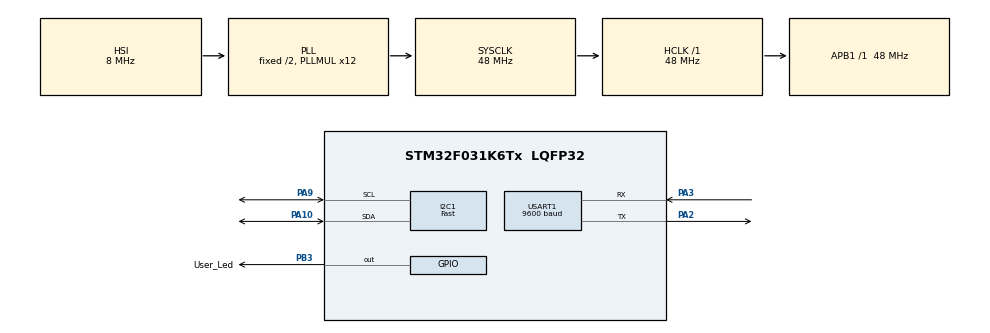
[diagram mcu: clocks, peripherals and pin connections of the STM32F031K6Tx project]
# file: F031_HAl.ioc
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Dma.Request0=USART1_RX
Dma.USART1_RX.0.Direction=DMA_PERIPH_TO_MEMORY
Dma.USART1_RX.0.Instance=DMA1_Channel3
Dma.USART1_RX.0.MemDataAlignment=DMA_MDATAALIGN_BYTE
Dma.USART1_RX.0.MemInc=DMA_MINC_ENABLE
Dma.USART1_RX.0.Mode=DMA_NORMAL
Dma.USART1_RX.0.PeriphDataAlignment=DMA_PDATAALIGN_BYTE
Dma.USART1_RX.0.PeriphInc=DMA_PINC_DISABLE
Dma.USART1_RX.0.Priority=DMA_PRIORITY_LOW
I2C1.I2C_Speed_Mode=I2C_Fast
I2C1.Timing=0x0000020B
Mcu.Family=STM32F0
Mcu.Name=STM32F031K6Tx
Mcu.Package=LQFP32
NVIC.DMA1_Channel2_3_IRQn=true\:0\:0\:false\:false\:true\:false\:true\:true
NVIC.USART1_IRQn=true\:0\:0\:false\:false\:true\:true\:true\:true
PA10.Mode=I2C
PA10.Signal=I2C1_SDA
PA13.Mode=Serial_Wire
PA13.Signal=SYS_SWDIO
PA14.Mode=Serial_Wire
PA14.Signal=SYS_SWCLK
PA2.Mode=Asynchronous
PA2.Signal=USART1_TX
PA3.Mode=Asynchronous
PA3.Signal=USART1_RX
PA9.Mode=I2C
PA9.Signal=I2C1_SCL
PB3.GPIO_Label=User_Led
PB3.Signal=GPIO_Output
ProjectManager.HeapSize=0x200
ProjectManager.StackSize=0x400
ProjectManager.TargetToolchain=STM32CubeIDE
RCC.AHBFreq_Value=48000000
RCC.APB1Freq_Value=48000000
RCC.APB1TimFreq_Value=48000000
RCC.HCLKFreq_Value=48000000
RCC.PLLMUL=RCC_PLL_MUL12
RCC.SYSCLKFreq_VALUE=48000000
RCC.SYSCLKSource=RCC_SYSCLKSOURCE_PLLCLK
USART1.BaudRate=9600
USART1.VirtualMode-Asynchronous=VM_ASYNC
board=custom

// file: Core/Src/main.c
/* USER CODE BEGIN Header */
/**
  ******************************************************************************
  * @file           : main.c
  * @brief          : Main program body
  ******************************************************************************
  * @attention
  *
  * Copyright (c) 2022 STMicroelectronics.
  * All rights reserved.
  *
  * This software is licensed under terms that can be found in the LICENSE file
  * in the root directory of this software component.
  * If no LICENSE file comes with this software, it is provided AS-IS.
  *
  ******************************************************************************
  */
/* USER CODE END Header */
#include "main.h"

/* USER CODE BEGIN Includes */
#include <stdio.h>
#include <stdbool.h>
#include <lcd1602_i2c_lib.h>
#include "ModbusRTU_lib.h"
/* USER CODE END Includes */

/* USER CODE BEGIN PD */
#define UART_DMA_RX_BUFFER_SIZE 64
#define RE72_ADRESS 0x58  //01011000
#define RE72_BYTE_ORDER 0x01
#define RE72_SP_change 0xFF4
#define RE72_SP 0x1D4E    //register 7502
#define RE72_PV 0x1D4C    //register 7500
#define RE72_FUNCTION_READ_REGISTER 0x03
#define RE72_FUNCTION_WRITE_REGISTER 0x06
/* USER CODE END PD */

I2C_HandleTypeDef hi2c1;

UART_HandleTypeDef huart1;
DMA_HandleTypeDef hdma_usart1_rx;

/* USER CODE BEGIN PV */
extern char tx_buffer_lcd[40];

extern uint8_t ModbusRTU_tx_buffer[ModbusRTU_TX_BUFFER_SIZE];
extern uint8_t ModbusRTU_rx_buffer[ModbusRTU_RX_BUFFER_SIZE];
volatile bool ModbusRTU_rx_flag = 0;
unsigned long t_ModbusRTU_tx = 0;
unsigned long t_ModbusRTU_tx_2 = 0;

uint8_t uart_dma_rx_buffer[UART_DMA_RX_BUFFER_SIZE] = {0, };

volatile bool display_flag = 0;

union {
	int32_t val_int;
	float result_float;
}conversation_int_to_float;
int32_t RE72_SP_int = 0;
int32_t RE72_PV_int = 0;
int16_t i = 0;
/* USER CODE END PV */

void SystemClock_Config(void);
static void MX_GPIO_Init(void);
static void MX_DMA_Init(void);
static void MX_I2C1_Init(void);
static void MX_USART1_UART_Init(void);
/* USER CODE BEGIN PFP */
void Read_Register_RE72(uint16_t Register, uint8_t Function_code);
void Read_Two_Registers_RE72(uint16_t Register, uint8_t Function_code);
void Write_Register_RE72(uint16_t Register, uint8_t Function_code, uint16_t Data_To_Write);
void Display_Data_ModbusRTU(void);
void Read_SP_value_RE72(void);
void Read_PV_value_RE72(void);
void Write_SP_value_RE72(uint16_t value);
/* USER CODE END PFP */

int main(void)
{

  /* MCU Configuration--------------------------------------------------------*/

  /* Reset of all peripherals, Initializes the Flash interface and the Systick. */
  HAL_Init();

  /* Configure the system clock */
  SystemClock_Config();

  /* Initialize all configured peripherals */
  MX_GPIO_Init();
  MX_DMA_Init();
  MX_I2C1_Init();
  MX_USART1_UART_Init();
  /* USER CODE BEGIN 2 */
  t_ModbusRTU_tx = HAL_GetTick();
  t_ModbusRTU_tx_2 = HAL_GetTick();
  HAL_UARTEx_ReceiveToIdle_DMA(&huart1, uart_dma_rx_buffer, UART_DMA_RX_BUFFER_SIZE);
  __HAL_DMA_DISABLE_IT(&hdma_usart1_rx, DMA_IT_HT);
  Write_SP_value_RE72(i);
  lcd1602_Init();
  lcd1602_SetCursor(0, 0);
  for(int i = 0; i < 20; i++){
	  static uint8_t val = 0;
	  switch(val){
	  case 0:
		  	lcd1602_SetCursor(0, 0);
			sprintf(tx_buffer_lcd, "Initialization.   ");
			lcd1602_Print_text(tx_buffer_lcd);
			HAL_Delay(300);
			val++;
			break;
	  case 1:
		    lcd1602_SetCursor(0, 0);
			sprintf(tx_buffer_lcd, "Initialization..   ");
			lcd1602_Print_text(tx_buffer_lcd);
			HAL_Delay(300);
			val++;
			break;
	  case 2:
		    lcd1602_SetCursor(0, 0);
		  	sprintf(tx_buffer_lcd, "Initialization...   ");
		    lcd1602_Print_text(tx_buffer_lcd);
		    HAL_Delay(300);
		    val++;
		    break;
	  case 3:
		    lcd1602_SetCursor(0, 0);
		  	sprintf(tx_buffer_lcd, "Initialization.   ");
		    lcd1602_Print_text(tx_buffer_lcd);
		    HAL_Delay(300);
		    val++;
		    break;
	  }
	  if(val == 3){
		  val = 0;
	  }
  }

  /* USER CODE END 2 */

  /* Infinite loop */
  /* USER CODE BEGIN WHILE */
  while (1)
  {
	  Display_Data_ModbusRTU();
	  if((HAL_GetTick() - t_ModbusRTU_tx) >= 1000){
		  t_ModbusRTU_tx = HAL_GetTick();
		  Read_SP_value_RE72();
		  Read_PV_value_RE72();

	  }
	  if((HAL_GetTick() - t_ModbusRTU_tx_2) >= 300){
		  Write_SP_value_RE72(i);
		  i++;
		  if(i >= 500){
			  i = 0;
		  }

	  }
    /* USER CODE END WHILE */

  }
}

void SystemClock_Config(void)
{
  RCC_OscInitTypeDef RCC_OscInitStruct = {0};
  RCC_ClkInitTypeDef RCC_ClkInitStruct = {0};
  RCC_PeriphCLKInitTypeDef PeriphClkInit = {0};

  /** Initializes the RCC Oscillators according to the specified parameters
  * in the RCC_OscInitTypeDef structure.
  */
  RCC_OscInitStruct.OscillatorType = RCC_OSCILLATORTYPE_HSI;
  RCC_OscInitStruct.HSIState = RCC_HSI_ON;
  RCC_OscInitStruct.HSICalibrationValue = RCC_HSICALIBRATION_DEFAULT;
  RCC_OscInitStruct.PLL.PLLState = RCC_PLL_ON;
  RCC_OscInitStruct.PLL.PLLSource = RCC_PLLSOURCE_HSI;
  RCC_OscInitStruct.PLL.PLLMUL = RCC_PLL_MUL12;
  RCC_OscInitStruct.PLL.PREDIV = RCC_PREDIV_DIV1;
  if (HAL_RCC_OscConfig(&RCC_OscInitStruct) != HAL_OK)
  {
    Error_Handler();
  }

  /** Initializes the CPU, AHB and APB buses clocks
  */
  RCC_ClkInitStruct.ClockType = RCC_CLOCKTYPE_HCLK|RCC_CLOCKTYPE_SYSCLK
                              |RCC_CLOCKTYPE_PCLK1;
  RCC_ClkInitStruct.SYSCLKSource = RCC_SYSCLKSOURCE_PLLCLK;
  RCC_ClkInitStruct.AHBCLKDivider = RCC_SYSCLK_DIV1;
  RCC_ClkInitStruct.APB1CLKDivider = RCC_HCLK_DIV1;

  if (HAL_RCC_ClockConfig(&RCC_ClkInitStruct, FLASH_LATENCY_1) != HAL_OK)
  {
    Error_Handler();
  }
  PeriphClkInit.PeriphClockSelection = RCC_PERIPHCLK_USART1|RCC_PERIPHCLK_I2C1;
  PeriphClkInit.Usart1ClockSelection = RCC_USART1CLKSOURCE_PCLK1;
  PeriphClkInit.I2c1ClockSelection = RCC_I2C1CLKSOURCE_HSI;
  if (HAL_RCCEx_PeriphCLKConfig(&PeriphClkInit) != HAL_OK)
  {
    Error_Handler();
  }
}

static void MX_I2C1_Init(void)
{

  hi2c1.Instance = I2C1;
  hi2c1.Init.Timing = 0x0000020B;
  hi2c1.Init.OwnAddress1 = 0;
  hi2c1.Init.AddressingMode = I2C_ADDRESSINGMODE_7BIT;
  hi2c1.Init.DualAddressMode = I2C_DUALADDRESS_DISABLE;
  hi2c1.Init.OwnAddress2 = 0;
  hi2c1.Init.OwnAddress2Masks = I2C_OA2_NOMASK;
  hi2c1.Init.GeneralCallMode = I2C_GENERALCALL_DISABLE;
  hi2c1.Init.NoStretchMode = I2C_NOSTRETCH_DISABLE;
  if (HAL_I2C_Init(&hi2c1) != HAL_OK)
  {
    Error_Handler();
  }

  /** Configure Analogue filter
  */
  if (HAL_I2CEx_ConfigAnalogFilter(&hi2c1, I2C_ANALOGFILTER_ENABLE) != HAL_OK)
  {
    Error_Handler();
  }

  /** Configure Digital filter
  */
  if (HAL_I2CEx_ConfigDigitalFilter(&hi2c1, 0) != HAL_OK)
  {
    Error_Handler();
  }

}

static void MX_USART1_UART_Init(void)
{

  huart1.Instance = USART1;
  huart1.Init.BaudRate = 9600;
  huart1.Init.WordLength = UART_WORDLENGTH_8B;
  huart1.Init.StopBits = UART_STOPBITS_1;
  huart1.Init.Parity = UART_PARITY_NONE;
  huart1.Init.Mode = UART_MODE_TX_RX;
  huart1.Init.HwFlowCtl = UART_HWCONTROL_NONE;
  huart1.Init.OverSampling = UART_OVERSAMPLING_16;
  huart1.Init.OneBitSampling = UART_ONE_BIT_SAMPLE_DISABLE;
  huart1.AdvancedInit.AdvFeatureInit = UART_ADVFEATURE_NO_INIT;
  if (HAL_UART_Init(&huart1) != HAL_OK)
  {
    Error_Handler();
  }

}

static void MX_DMA_Init(void)
{

  /* DMA controller clock enable */
  __HAL_RCC_DMA1_CLK_ENABLE();

  /* DMA interrupt init */
  /* DMA1_Channel2_3_IRQn interrupt configuration */
  HAL_NVIC_SetPriority(DMA1_Channel2_3_IRQn, 0, 0);
  HAL_NVIC_EnableIRQ(DMA1_Channel2_3_IRQn);

}

static void MX_GPIO_Init(void)
{
  GPIO_InitTypeDef GPIO_InitStruct = {0};

  /* GPIO Ports Clock Enable */
  __HAL_RCC_GPIOA_CLK_ENABLE();
  __HAL_RCC_GPIOB_CLK_ENABLE();

  /*Configure GPIO pin Output Level */
  HAL_GPIO_WritePin(User_Led_GPIO_Port, User_Led_Pin, GPIO_PIN_RESET);

  /*Configure GPIO pin : User_Led_Pin */
  GPIO_InitStruct.Pin = User_Led_Pin;
  GPIO_InitStruct.Mode = GPIO_MODE_OUTPUT_PP;
  GPIO_InitStruct.Pull = GPIO_NOPULL;
  GPIO_InitStruct.Speed = GPIO_SPEED_FREQ_LOW;
  HAL_GPIO_Init(User_Led_GPIO_Port, &GPIO_InitStruct);

}

/* USER CODE BEGIN 4 */

void HAL_UARTEx_RxEventCallback(UART_HandleTypeDef *huart, uint16_t Size){
	if(huart->Instance == USART1){
		memcpy(ModbusRTU_rx_buffer, uart_dma_rx_buffer, Size);
		HAL_UARTEx_ReceiveToIdle_DMA(&huart1, uart_dma_rx_buffer, UART_DMA_RX_BUFFER_SIZE);
		display_flag = 1;
	}
}

void Read_Register_RE72(uint16_t Register, uint8_t Function_code){
	if(Function_code == 0x03){
		ModbusRTU_Read_Holding_Registers_0x03(RE72_ADRESS, Register, 1, RE72_BYTE_ORDER);
		HAL_UART_Transmit(&huart1, ModbusRTU_tx_buffer, 8, 1000);
	}
}

void Read_Two_Registers_RE72(uint16_t Register, uint8_t Function_code){
	if(Function_code == 0x03){
		ModbusRTU_Read_Holding_Registers_0x03(RE72_ADRESS, Register, 2, RE72_BYTE_ORDER);
		HAL_UART_Transmit(&huart1, ModbusRTU_tx_buffer, 8, 1000);
	}
}

void Write_Register_RE72(uint16_t Register, uint8_t Function_code, uint16_t Data_To_Write){
	if(Function_code == 0x06){
		ModbusRTU_Write_Single_Register_0x06(RE72_ADRESS, Register, Data_To_Write, RE72_BYTE_ORDER);
		HAL_UART_Transmit(&huart1, ModbusRTU_tx_buffer, 8, 1000);
	}
}

void Read_PV_value_RE72(){
	 Read_Two_Registers_RE72(RE72_PV, RE72_FUNCTION_READ_REGISTER);
	 conversation_int_to_float.val_int = ((uint32_t)ModbusRTU_rx_buffer[3] << 24) | ((uint32_t)ModbusRTU_rx_buffer[4] << 16) | ((uint32_t)ModbusRTU_rx_buffer[5] << 8) | ((uint32_t)ModbusRTU_rx_buffer[6]);
	 RE72_PV_int = conversation_int_to_float.result_float;
	 lcd1602_SetCursor(0, 1);
	 sprintf(tx_buffer_lcd, "PV value is %u           ", RE72_PV_int);
	 lcd1602_Print_text(tx_buffer_lcd);
	 HAL_Delay(300);
}

void Read_SP_value_RE72(){
	Read_Two_Registers_RE72(RE72_SP, RE72_FUNCTION_READ_REGISTER);
	conversation_int_to_float.val_int = ((uint32_t)ModbusRTU_rx_buffer[3] << 24) | ((uint32_t)ModbusRTU_rx_buffer[4] << 16) | ((uint32_t)ModbusRTU_rx_buffer[5] << 8) | ((uint32_t)ModbusRTU_rx_buffer[6]);
	RE72_SP_int = conversation_int_to_float.result_float;
	lcd1602_SetCursor(0, 0);
	sprintf(tx_buffer_lcd, "SP value is %u           ", RE72_SP_int);
	lcd1602_Print_text(tx_buffer_lcd);
	HAL_Delay(300);
}
void Write_SP_value_RE72(uint16_t value){
	Write_Register_RE72(RE72_SP_change, RE72_FUNCTION_WRITE_REGISTER, (value * 10));
	HAL_Delay(300);
	memset(uart_dma_rx_buffer, 0, UART_DMA_RX_BUFFER_SIZE);
	memset(ModbusRTU_rx_buffer, 0, ModbusRTU_RX_BUFFER_SIZE);
	HAL_Delay(300);
}

void Display_Data_ModbusRTU(void){
	if(display_flag){
		//lcd1602_SetCursor(0, 0);
		//sprintf(tx_buffer_lcd, "ModbusRTU rx:    ");
		//lcd1602_Print_text(tx_buffer_lcd);
		//lcd1602_SetCursor(0, 1);
		//sprintf(tx_buffer_lcd, "0x%04x%04x   ", ModbusRTU_rx_buffer[3], ModbusRTU_rx_buffer[4]);
		//lcd1602_Print_text(tx_buffer_lcd);
		display_flag = 0;
	}
}
/* USER CODE END 4 */

void Error_Handler(void)
{
  __disable_irq();
  while (1)
  {
  }
}
